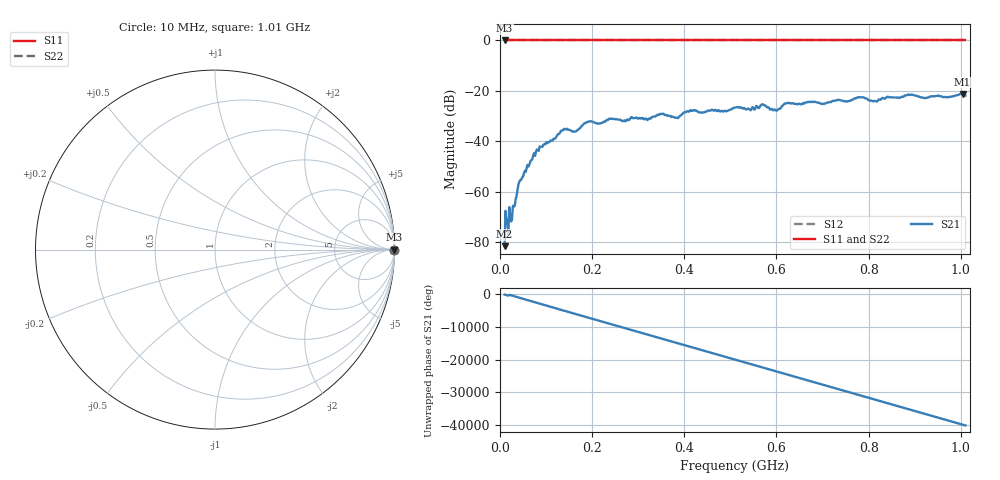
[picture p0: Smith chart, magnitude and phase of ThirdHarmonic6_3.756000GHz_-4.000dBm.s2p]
! 8/17/2025 12:53:31 PM
! C:\ANRITSUVNA\TEMP\TEMP.S2P
! CHANNEL.1
! TR.MEASUREMENT
! RAW.DATA
! RF.CORRECTION.OFF
! AVERAGING.OFF
! IF.BANDWIDTH: 5KHZ
! SWEEPTYPE:  FREQ.SWEEP(Linear)
! Reference Plane Port Info
! PORT:  PORT1  PORT2
! DISTANCE:  0  m  0  m
! TIME:  0  s  0  s
! PHASE.OFFSET:  0  deg.  0  deg.
! LOSS:  0  dB  0  dB
! REF.LOSS:  0  dB  0  dB
! REF.FREQ:  0  Hz  0  Hz
! Power Info
! POWER:  -20  dBm  -20  dBm
! EFF.POWER:  -20  dBm  -20  dBm
! SOURCE.ATTEN:  0  dB  0  dB
! TEST.ATTEN:  0  dB  0  dB
# GHZ S RI R 50.0
! FREQ.GHZ  S11RE  S11IM  S21RE  S21IM  S12RE  S12IM  S22RE  S22IM
!; PortSelection: Port_12
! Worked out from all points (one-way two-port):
!   501 points, 10 MHz to 1.01 GHz, reference 50 ohm
!   highest |S21| = -21.24 dB at 1.004 GHz (marker M1); lowest = -81.6 dB at 10 MHz (marker M2)
!   lowest |S11| = 0.0 dB at 10 MHz (marker M3)
!   |S11| at or under -10 dB: nowhere
!   |S22| runs from 0.0 to 0.0 dB; largest |S21 - S12| = 1.1
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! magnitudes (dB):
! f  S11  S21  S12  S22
! 10 MHz  0.0  -81.6  0.0  0.0
! 16 MHz  0.0  -71.1  0.0  0.0
! 22 MHz  0.0  -69.3  0.0  0.0
! 24 MHz  0.0  -71.8  0.0  0.0
! 28 MHz  0.0  -65.6  0.0  0.0
! 44 MHz  0.0  -55.4  0.0  0.0
! 76 MHz  0.0  -45.8  0.0  0.0
! 136 MHz  0.0  -35.7  0.0  0.0
! 162 MHz  0.0  -36.2  0.0  0.0
! 178 MHz  0.0  -33.9  0.0  0.0
! 344 MHz  0.0  -29.6  0.0  0.0
! 384 MHz  0.0  -30.7  0.0  0.0
! 410 MHz  0.0  -28.3  0.0  0.0
! 510 MHz  0.0  -26.6  0.0  0.0
! 570 MHz  0.0  -25.3  0.0  0.0
! 598 MHz  0.0  -27.6  0.0  0.0
! 622 MHz  0.0  -24.8  0.0  0.0
! 678 MHz  0.0  -24.3  0.0  0.0
! 814 MHz  0.0  -24.0  0.0  0.0
! 844 MHz  0.0  -22.5  0.0  0.0
! 1.004 GHz  0.0  -21.2  0.0  0.0
! 1.01 GHz  0.0  -21.9  0.0  0.0
